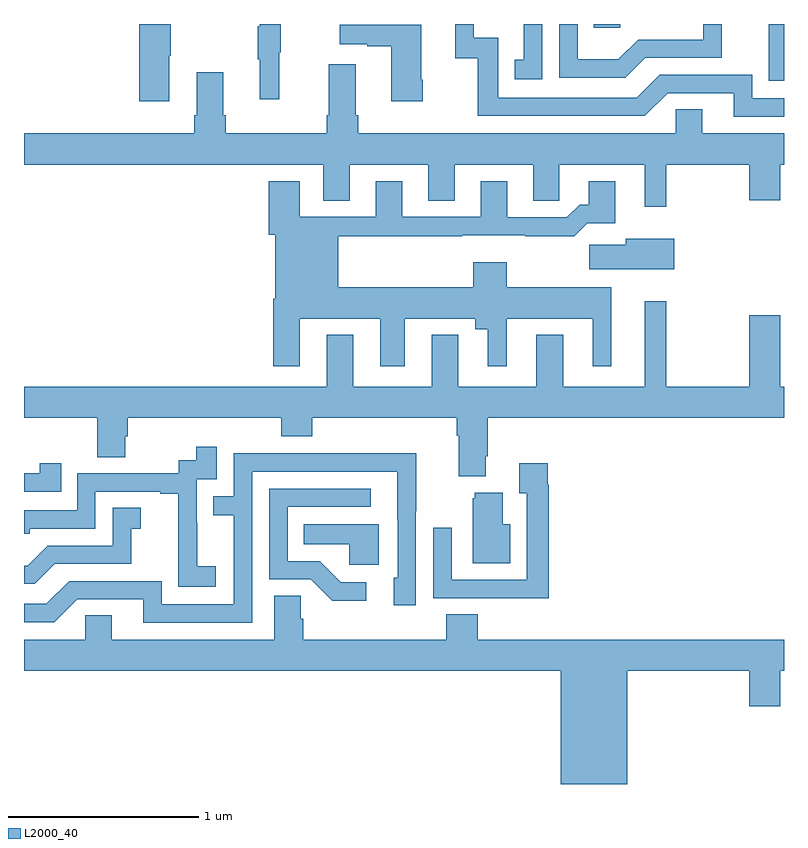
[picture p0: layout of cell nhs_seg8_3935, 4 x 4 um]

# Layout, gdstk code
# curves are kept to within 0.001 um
import gdstk
lib = gdstk.Library(unit=1e-6, precision=1e-09)
def R(c, l, rs):  # rectangles x0, y0, x1, y1
    for r in rs: c.add(gdstk.rectangle(r[:2], r[2:], *l))
def P(c, l, *ps):  # polygons
    for p in ps: c.add(gdstk.Polygon(p, *l))
L2000_40 = (2000, 40)

nhs_seg8_3935 = lib.new_cell('nhs_seg8_3935')
R(nhs_seg8_3935, L2000_40, [(355.999,1123.881,356.139,1123.9)])
P(nhs_seg8_3935, L2000_40, [(357,1123.509),(356.832,1123.509),(356.832,1123.632),(356.346,1123.632),(356.226,1123.512),(355.497,1123.512),(355.497,1123.827),(355.368,1123.827),(355.368,1123.9),(355.271,1123.9),(355.271,1123.719),(355.389,1123.719),(355.389,1123.416),(356.268,1123.416),(356.388,1123.536),(356.735,1123.536),(356.735,1123.413),(357,1123.413)],
  [(357,1123.9),(356.921,1123.9),(356.921,1123.807),(356.92,1123.807),(356.92,1123.601),(357,1123.601)],
  [(354.344,1123.752),(354.352,1123.752),(354.352,1123.9),(354.242,1123.9),(354.242,1123.889),(354.231,1123.889),(354.231,1123.715),(354.242,1123.715),(354.242,1123.503),(354.344,1123.503)],
  [(355.728,1123.9),(355.631,1123.9),(355.631,1123.713),(355.582,1123.713),(355.582,1123.608),(355.728,1123.608)],
  [(353.764,1123.732),(353.772,1123.732),(353.772,1123.9),(353.606,1123.9),(353.606,1123.494),(353.764,1123.494)],
  [(356.269,1123.722),(356.673,1123.722),(356.673,1123.9),(356.574,1123.9),(356.574,1123.818),(356.232,1123.818),(356.128,1123.714),(355.914,1123.714),(355.914,1123.9),(355.818,1123.9),(355.818,1123.617),(356.164,1123.617)],
  [(355.098,1123.606),(355.09,1123.606),(355.09,1123.897),(354.663,1123.897),(354.663,1123.793),(354.806,1123.793),(354.806,1123.783),(354.932,1123.783),(354.932,1123.494),(355.098,1123.494)],
  [(354.715,1123.16),(355.127,1123.16),(355.127,1122.97),(355.267,1122.97),(355.267,1123.16),(355.679,1123.16),(355.679,1122.97),(355.818,1122.97),(355.818,1123.16),(356.267,1123.16),(356.267,1122.939),(356.381,1122.939),(356.381,1123.16),(356.816,1123.16),(356.816,1122.972),(356.98,1122.972),(356.98,1123.16),(357,1123.16),(357,1123.324),(356.569,1123.324),(356.569,1123.451),(356.43,1123.451),(356.43,1123.324),(354.758,1123.324),(354.758,1123.42),(354.745,1123.42),(354.745,1123.687),(354.605,1123.687),(354.605,1123.42),(354.593,1123.42),(354.593,1123.324),(354.062,1123.324),(354.062,1123.42),(354.049,1123.42),(354.049,1123.645),(353.909,1123.645),(353.909,1123.42),(353.897,1123.42),(353.897,1123.324),(353,1123.324),(353,1123.16),(354.575,1123.16),(354.575,1122.97),(354.715,1122.97)],
  [(354.451,1122.35),(354.875,1122.35),(354.875,1122.099),(355.003,1122.099),(355.003,1122.35),(355.376,1122.35),(355.376,1122.293),(355.442,1122.293),(355.442,1122.099),(355.54,1122.099),(355.54,1122.35),(355.994,1122.35),(355.994,1122.099),(356.092,1122.099),(356.092,1122.514),(355.542,1122.514),(355.542,1122.646),(355.364,1122.646),(355.364,1122.514),(354.655,1122.514),(354.655,1122.784),(355.307,1122.784),(355.307,1122.788),(355.639,1122.788),(355.639,1122.782),(355.895,1122.782),(355.964,1122.851),(356.113,1122.851),(356.113,1123.072),(355.973,1123.072),(355.973,1122.949),(355.924,1122.949),(355.857,1122.882),(355.543,1122.882),(355.543,1123.072),(355.403,1123.072),(355.403,1122.885),(354.991,1122.885),(354.991,1123.072),(354.851,1123.072),(354.851,1122.885),(354.451,1122.885),(354.451,1123.072),(354.287,1123.072),(354.287,1122.792),(354.323,1122.792),(354.323,1122.454),(354.311,1122.454),(354.311,1122.099),(354.451,1122.099)],
  [(356.422,1122.769),(356.168,1122.769),(356.168,1122.737),(355.974,1122.737),(355.974,1122.608),(356.422,1122.608)],
  [(355.429,1121.626),(355.442,1121.626),(355.442,1121.828),(357,1121.828),(357,1121.992),(356.98,1121.992),(356.98,1122.367),(356.816,1122.367),(356.816,1121.992),(356.381,1121.992),(356.381,1122.442),(356.267,1122.442),(356.267,1121.992),(355.837,1121.992),(355.837,1122.265),(355.697,1122.265),(355.697,1121.992),(355.285,1121.992),(355.285,1122.265),(355.145,1122.265),(355.145,1121.992),(354.733,1121.992),(354.733,1122.265),(354.593,1122.265),(354.593,1121.992),(353,1121.992),(353,1121.828),(353.386,1121.828),(353.386,1121.62),(353.533,1121.62),(353.533,1121.73),(353.546,1121.73),(353.546,1121.828),(354.353,1121.828),(354.353,1121.729),(354.518,1121.729),(354.518,1121.828),(355.277,1121.828),(355.277,1121.732),(355.289,1121.732),(355.289,1121.519),(355.429,1121.519)],
  [(354.01,1121.047),(353.912,1121.047),(353.912,1121.276),(353.91,1121.276),(353.91,1121.505),(354.015,1121.505),(354.015,1121.674),(353.907,1121.674),(353.907,1121.604),(353.814,1121.604),(353.814,1121.535),(353.28,1121.535),(353.28,1121.34),(353,1121.34),(353,1121.217),(353.031,1121.217),(353.031,1121.244),(353.376,1121.244),(353.376,1121.439),(353.717,1121.439),(353.717,1121.427),(353.813,1121.427),(353.813,1121.143),(353.812,1121.143),(353.812,1120.937),(354.01,1120.937)],
  [(354.201,1121.544),(354.965,1121.544),(354.966,1120.986),(354.947,1120.986),(354.947,1120.842),(355.062,1120.842),(355.062,1121.335),(355.065,1121.335),(355.065,1121.642),(354.601,1121.642),(354.601,1121.64),(354.105,1121.64),(354.105,1121.415),(353.995,1121.415),(353.995,1121.314),(354.105,1121.314),(354.105,1120.845),(353.724,1120.845),(353.724,1120.968),(353.238,1120.968),(353.118,1120.848),(353,1120.848),(353,1120.752),(353.16,1120.752),(353.28,1120.872),(353.627,1120.872),(353.627,1120.749),(354.201,1120.749)],
  [(353.195,1121.587),(353.084,1121.587),(353.084,1121.535),(353,1121.535),(353,1121.439),(353.195,1121.439)],
  [(355.763,1121.474),(355.756,1121.474),(355.756,1121.587),(355.607,1121.587),(355.607,1121.431),(355.647,1121.431),(355.647,1120.974),(355.251,1120.974),(355.251,1121.248),(355.155,1121.248),(355.155,1120.878),(355.471,1120.878),(355.471,1120.877),(355.763,1120.877)],
  [(354.802,1120.962),(354.667,1120.962),(354.556,1121.073),(354.387,1121.073),(354.387,1121.358),(354.826,1121.358),(354.826,1121.454),(354.291,1121.454),(354.291,1120.977),(354.51,1120.977),(354.623,1120.865),(354.802,1120.865)],
  [(355.558,1121.266),(355.519,1121.266),(355.519,1121.434),(355.373,1121.434),(355.373,1121.403),(355.361,1121.403),(355.361,1121.063),(355.558,1121.063)],
  [(353.161,1121.058),(353.565,1121.058),(353.565,1121.243),(353.614,1121.243),(353.614,1121.353),(353.466,1121.353),(353.466,1121.154),(353.124,1121.154),(353.02,1121.05),(353,1121.05),(353,1120.953),(353.056,1120.953)],
  [(354.868,1121.266),(354.472,1121.266),(354.472,1121.162),(354.711,1121.162),(354.711,1121.054),(354.868,1121.054)],
  [(356.176,1120.496),(356.816,1120.496),(356.816,1120.308),(356.98,1120.308),(356.98,1120.496),(357,1120.496),(357,1120.66),(355.388,1120.66),(355.388,1120.793),(355.223,1120.793),(355.223,1120.66),(354.47,1120.66),(354.47,1120.769),(354.456,1120.769),(354.456,1120.892),(354.317,1120.892),(354.317,1120.66),(353.461,1120.66),(353.461,1120.787),(353.322,1120.787),(353.322,1120.66),(353,1120.66),(353,1120.496),(355.826,1120.496),(355.826,1119.9),(356.176,1119.9)])

lib.write_gds('nhs_seg8_3935.gds')
